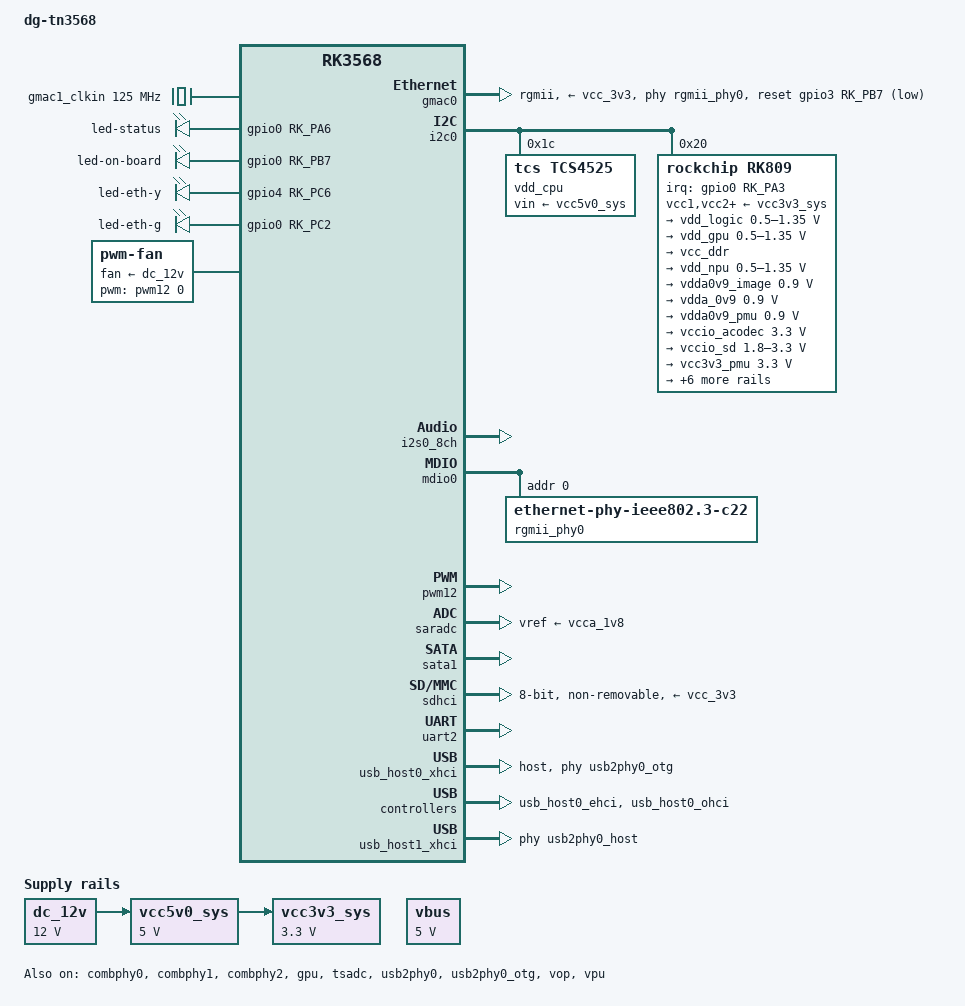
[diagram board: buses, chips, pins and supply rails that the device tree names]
// SPDX-License-Identifier: (GPL-2.0+ OR MIT)
/*
 * Copyright (c) 2024 hqnicolas <hqnicolas@msn.com>
 */

/dts-v1/;

#include <dt-bindings/gpio/gpio.h>
#include <dt-bindings/input/input.h>
#include <dt-bindings/pinctrl/rockchip.h>
#include <dt-bindings/soc/rockchip,vop2.h>
#include "rk3568.dtsi"

/ {
	model = "dg-tn3568";
	compatible = "dg-tn3568,rk3568", "rockchip,rk3568";
	bootargs = "earlycon=uart8250,mmio32,0xfe660000 console=ttyFIQ0";

	aliases {
		ethernet0 = &gmac1;
		mmc0 = &sdmmc0;
		mmc1 = &sdhci;
		mmc2 = &sdmmc1;
	};

	chosen: chosen {
		stdout-path = "serial2:1500000n8";
	};

	gmac1_clkin: external-gmac1-clock {
		compatible = "fixed-clock";
		clock-frequency = <125000000>;
		clock-output-names = "gmac1_clkin";
		#clock-cells = <0>;
	};

	dc_12v: dc-12v {
		compatible = "regulator-fixed";
		regulator-name = "dc_12v";
		regulator-always-on;
		regulator-boot-on;
		regulator-min-microvolt = <12000000>;
		regulator-max-microvolt = <12000000>;
	};

	vcc5v0_sys: vcc5v0_sys {
		compatible = "regulator-fixed";
		regulator-name = "vcc5v0_sys";
		regulator-always-on;
		regulator-boot-on;
		regulator-min-microvolt = <5000000>;
		regulator-max-microvolt = <5000000>;
		vin-supply = <&dc_12v>;
	};

	vcc3v3_sys: vcc3v3-sys {
		compatible = "regulator-fixed";
		regulator-name = "vcc3v3_sys";
		regulator-always-on;
		regulator-boot-on;
		regulator-min-microvolt = <3300000>;
		regulator-max-microvolt = <3300000>;
		vin-supply = <&vcc5v0_sys>;
	};

	leds {
		compatible = "gpio-leds";

		led_status: led-status {
			label = "led-status";
			gpios = <&gpio0 RK_PA6 GPIO_ACTIVE_HIGH>;
			linux,default-trigger = "heartbeat";
			pinctrl-names = "default";
			pinctrl-0 = <&led_sys_h>;
		};

		led_on_board: led-on-board {
			label = "led-on-board";
			gpios = <&gpio0 RK_PB7 GPIO_ACTIVE_HIGH>;
			//linux,default-trigger = "heartbeat";
			pinctrl-names = "default";
			pinctrl-0 = <&led_on_board_h>;
		};

		led_eth_y: led-eth-y {
			label = "led-eth-y";
			gpios = <&gpio4 RK_PC6 GPIO_ACTIVE_HIGH>;
			//linux,default-trigger = "default-on";
			pinctrl-names = "default";
			pinctrl-0 = <&led_eth_y_h>;
		};

		led_eth_g: led-eth-g {
			label = "led-eth-g";
			gpios = <&gpio0 RK_PC2 GPIO_ACTIVE_HIGH>;
			//linux,default-trigger = "default-on";
			pinctrl-names = "default";
			pinctrl-0 = <&led_eth_g_h>;
		};
	};

	vbus: vbus-regulator {
		compatible = "regulator-fixed";
		regulator-name = "vbus";
		regulator-always-on;
		regulator-boot-on;
		regulator-min-microvolt = <5000000>;
		regulator-max-microvolt = <5000000>;
	};

	rk809_sound: rk809-sound {
		status = "okay";
		compatible = "simple-audio-card";
		simple-audio-card,format = "i2s";
		simple-audio-card,name = "rockchip,rk809-codec";
		simple-audio-card,mclk-fs = <256>;

		simple-audio-card,cpu {
			sound-dai = <&i2s1_8ch>;
		};
		simple-audio-card,codec {
			sound-dai = <&rk809_codec>;
		};
	};

	fan: pwm-fan {
		compatible = "pwm-fan";
		pwms = <&pwm12 0 40000 0>;
		fan-supply = <&dc_12v>;
		//interrupt-parent = <&gpio0>;
		//interrupts = <20 IRQ_TYPE_EDGE_FALLING>;
		pulses-per-revolution = <2>;
        cooling-levels = <0 50 100 150 200 255>;
        rockchip,temp-trips = <
                40000   1
                50000   2
                55000   3
                60000   4
                70000   5
        >;
	};
};

&combphy0 {
	rockchip,dis-u3otg0-port;
	status = "okay";
};

&combphy1 {
	rockchip,dis-u3otg1-port;
	status = "okay";
};

&combphy2 {
	status = "okay";
};

&cpu0 {
	cpu-supply = <&vdd_cpu>;
};

&cpu1 {
	cpu-supply = <&vdd_cpu>;
};

&cpu2 {
	cpu-supply = <&vdd_cpu>;
};

&cpu3 {
	cpu-supply = <&vdd_cpu>;
};

&gmac0 {
	phy-mode = "rgmii";
	clock_in_out = "input";

	snps,reset-gpio = <&gpio3 RK_PB7 GPIO_ACTIVE_LOW>;
	snps,reset-active-low;
	/* Reset time is 20ms, 100ms for rtl8211f */
	snps,reset-delays-us = <0 20000 100000>;

	assigned-clocks = <&cru SCLK_GMAC0_RX_TX>, <&cru SCLK_GMAC0>;
	assigned-clock-parents = <&cru SCLK_GMAC0_RGMII_SPEED>, <&cru CLK_MAC0_2TOP>;
	assigned-clock-rates = <0>, <125000000>;

	pinctrl-names = "default";
	pinctrl-0 = <&gmac0_miim
		     &gmac0_tx_bus2
		     &gmac0_rx_bus2
		     &gmac0_rgmii_clk
		     &gmac0_rgmii_bus>;

	tx_delay = <0x2a>;
	rx_delay = <0x2a>;

	phy-handle = <&rgmii_phy0>;
	phy-supply = <&vcc_3v3>;
	status = "okay";
};

&gpu {
	mali-supply = <&vdd_gpu>;
	status = "okay";
};

&i2c0 {
	status = "okay";

	vdd_cpu: regulator@1c {
		compatible = "tcs,tcs4525";
		reg = <0x1c>;
		fcs,suspend-voltage-selector = <1>;
		regulator-name = "vdd_cpu";
		regulator-min-microvolt = <800000>;
		regulator-max-microvolt = <1150000>;
		regulator-ramp-delay = <2300>;
		regulator-always-on;
		regulator-boot-on;
		vin-supply = <&vcc5v0_sys>;

		regulator-state-mem {
			regulator-off-in-suspend;
		};
	};

	rk809: pmic@20 {
		compatible = "rockchip,rk809";
		reg = <0x20>;
		interrupt-parent = <&gpio0>;
		interrupts = <RK_PA3 IRQ_TYPE_LEVEL_LOW>;
		#clock-cells = <1>;
		#sound-dai-cells = <0>;
		clock-output-names = "rk808-clkout1", "rk808-clkout2";
		pinctrl-names = "default";
		pinctrl-0 = <&pmic_int_l>;
		rockchip,system-power-controller;
		wakeup-source;

		vcc1-supply = <&vcc3v3_sys>;
		vcc2-supply = <&vcc3v3_sys>;
		vcc3-supply = <&vcc3v3_sys>;
		vcc4-supply = <&vcc3v3_sys>;
		vcc5-supply = <&vcc3v3_sys>;
		vcc6-supply = <&vcc3v3_sys>;
		vcc7-supply = <&vcc3v3_sys>;
		vcc8-supply = <&vcc3v3_sys>;
		vcc9-supply = <&vcc3v3_sys>;

		regulators {
			vdd_logic: DCDC_REG1 {
				regulator-name = "vdd_logic";
				regulator-always-on;
				regulator-boot-on;
				regulator-min-microvolt = <500000>;
				regulator-max-microvolt = <1350000>;
				regulator-init-microvolt = <900000>;
				regulator-ramp-delay = <6001>;
				regulator-initial-mode = <0x2>;
				regulator-state-mem {
					regulator-off-in-suspend;
				};
			};

			vdd_gpu: DCDC_REG2 {
				regulator-name = "vdd_gpu";
				regulator-always-on;
				regulator-boot-on;
				regulator-min-microvolt = <500000>;
				regulator-max-microvolt = <1350000>;
				regulator-init-microvolt = <900000>;
				regulator-ramp-delay = <6001>;
				regulator-initial-mode = <0x2>;
					regulator-state-mem {
					regulator-off-in-suspend;
				};
			};

			vcc_ddr: DCDC_REG3 {
				regulator-always-on;
				regulator-boot-on;
				regulator-initial-mode = <0x2>;
				regulator-name = "vcc_ddr";
				regulator-state-mem {
					regulator-on-in-suspend;
				};
			};

			vdd_npu: DCDC_REG4 {
				regulator-always-on;
				regulator-boot-on;
				regulator-min-microvolt = <500000>;
				regulator-max-microvolt = <1350000>;
				regulator-init-microvolt = <900000>;
				regulator-initial-mode = <0x2>;
				regulator-name = "vdd_npu";
				regulator-state-mem {
					regulator-off-in-suspend;
				};
			};

			vdda0v9_image: LDO_REG1 {
				regulator-always-on;
				regulator-boot-on;
				regulator-min-microvolt = <900000>;
				regulator-max-microvolt = <900000>;
				regulator-name = "vdda0v9_image";
				regulator-state-mem {
					regulator-off-in-suspend;
				};
			};

			vdda_0v9: LDO_REG2 {
				regulator-always-on;
				regulator-boot-on;
				regulator-min-microvolt = <900000>;
				regulator-max-microvolt = <900000>;
				regulator-name = "vdda_0v9";
				regulator-state-mem {
					regulator-off-in-suspend;
				};
			};

			vdda0v9_pmu: LDO_REG3 {
				regulator-always-on;
				regulator-boot-on;
				regulator-min-microvolt = <900000>;
				regulator-max-microvolt = <900000>;
				regulator-name = "vdda0v9_pmu";
				regulator-state-mem {
					regulator-on-in-suspend;
					regulator-suspend-microvolt = <900000>;
				};
			};

			vccio_acodec: LDO_REG4 {
				regulator-always-on;
				regulator-boot-on;
				regulator-min-microvolt = <3300000>;
				regulator-max-microvolt = <3300000>;
				regulator-name = "vccio_acodec";
				regulator-state-mem {
					regulator-off-in-suspend;
				};
			};

			vccio_sd: LDO_REG5 {
				regulator-name = "vccio_sd";
				regulator-always-on;
				regulator-boot-on;
				regulator-min-microvolt = <1800000>;
				regulator-max-microvolt = <3300000>;

				regulator-state-mem {
					regulator-off-in-suspend;
				};
			};

			vcc3v3_pmu: LDO_REG6 {
				regulator-name = "vcc3v3_pmu";
				regulator-always-on;
				regulator-boot-on;
				regulator-min-microvolt = <3300000>;
				regulator-max-microvolt = <3300000>;

				regulator-state-mem {
					regulator-on-in-suspend;
					regulator-suspend-microvolt = <3300000>;
				};
			};

			vcca_1v8: LDO_REG7 {
				regulator-name = "vcca_1v8";
				regulator-always-on;
				regulator-boot-on;
				regulator-min-microvolt = <1800000>;
				regulator-max-microvolt = <1800000>;

				regulator-state-mem {
					regulator-off-in-suspend;
				};
			};

			vcca1v8_pmu: LDO_REG8 {
				regulator-name = "vcca1v8_pmu";
				regulator-always-on;
				regulator-boot-on;
				regulator-min-microvolt = <1800000>;
				regulator-max-microvolt = <1800000>;

				regulator-state-mem {
					regulator-on-in-suspend;
					regulator-suspend-microvolt = <1800000>;
				};
			};

			vcca1v8_image: LDO_REG9 {
				regulator-name = "vcca1v8_image";
				regulator-min-microvolt = <1800000>;
				regulator-max-microvolt = <1800000>;

				regulator-state-mem {
					regulator-off-in-suspend;
				};
			};

			vcc_1v8: DCDC_REG5 {
				regulator-always-on;
				regulator-boot-on;
				regulator-min-microvolt = <1800000>;
				regulator-max-microvolt = <1800000>;
				regulator-name = "vcc_1v8";
				regulator-state-mem {
					regulator-off-in-suspend;
				};
			};

			vcc_3v3: SWITCH_REG1 {
				regulator-name = "vcc_3v3";
				regulator-always-on;
				regulator-boot-on;

				regulator-state-mem {
					regulator-off-in-suspend;
				};
			};

			vcc3v3_sd: SWITCH_REG2 {
				regulator-name = "vcc3v3_sd";
				regulator-always-on;
				regulator-boot-on;

				regulator-state-mem {
					regulator-off-in-suspend;
				};
			};
		};

		rk809_codec: codec {
			mic-in-differential;
			#sound-dai-cells = <0>;
		};
	};
};

&i2s0_8ch {
	status = "okay";
};

&i2s1_8ch {
	pinctrl-names = "default";
	pinctrl-0 = <&i2s1m0_sclktx
				 &i2s1m0_lrcktx
				 &i2s1m0_sdi0
				 &i2s1m0_sdo0>;
	rockchip,trcm-sync-tx-only;
};

&mdio0 {
	rgmii_phy0: ethernet-phy@0 {
		compatible = "ethernet-phy-ieee802.3-c22";
		reg = <0>;
		status = "okay";
	};
};

&pinctrl {

	pmic {
		pmic_int_l: pmic-int-l {
			rockchip,pins = <0 RK_PA3 RK_FUNC_GPIO &pcfg_pull_up>;
		};
	};

	leds {
		led_eth_y_h: led_eth_y_h {
			rockchip,pins = <4 RK_PC6 RK_FUNC_GPIO &pcfg_pull_none>;
		};

		led_eth_g_h: led_eth_g_h {
			rockchip,pins = <0 RK_PC2 RK_FUNC_GPIO &pcfg_pull_none>;
		};

		led_sys_h: led_sys_h {
			rockchip,pins = <0 RK_PA6 RK_FUNC_GPIO &pcfg_pull_none>;
		};

		led_on_board_h: led_on_board_h {
			rockchip,pins = <0 RK_PB7 RK_FUNC_GPIO &pcfg_pull_none>;
		};
	};

};

&pmu_io_domains {
	pmuio1-supply = <&vcc3v3_pmu>;
	pmuio2-supply = <&vcc3v3_pmu>;
	vccio1-supply = <&vccio_acodec>;
	vccio2-supply = <&vcc_1v8>;
	vccio3-supply = <&vccio_sd>;
	vccio4-supply = <&vcc_1v8>;
	vccio5-supply = <&vcc_3v3>;
	vccio6-supply = <&vcc_1v8>;
	vccio7-supply = <&vcc_3v3>;
	status = "okay";
};

&pwm12 {
	pinctrl-0 = <&pwm12m1_pins>;
	pinctrl-names = "default";
	status = "okay";
};

&saradc {
	vref-supply = <&vcca_1v8>;
	status = "okay";
};

&sata1 {
	status = "okay";
};

&sdhci {
	bus-width = <8>;
	mmc-hs200-1_8v;
	non-removable;
	vmmc-supply = <&vcc_3v3>;
	vqmmc-supply = <&vcc_1v8>;
	status = "okay";
};

&tsadc {
	status = "okay";
};

&uart2 {
	status = "okay";
};

&usb_host0_xhci {
	phys = <&usb2phy0_otg>;
	phy-names = "usb2-phy";
	extcon = <&usb2phy0>;
	maximum-speed = "high-speed";
    snps,dis_u2_susphy_quirk;
	dr_mode = "host";
	status = "okay";
};

&usb_host0_ehci {
	status = "okay";
};

&usb_host0_ohci {
	status = "okay";
};

&usb2phy0 {
	status = "okay";
};

&usb2phy0_otg {
	status = "okay";
};

&usb_host1_xhci {
	phys = <&usb2phy0_host>;
	phy-names = "usb2-phy";
	maximum-speed = "high-speed";
    snps,dis_u2_susphy_quirk;
};

&vop {
	assigned-clocks = <&cru DCLK_VOP0>, <&cru DCLK_VOP1>;
	assigned-clock-parents = <&pmucru PLL_HPLL>, <&cru PLL_VPLL>;
	status = "okay";
};

&vpu {
	status = "okay";
};

&vop_mmu {
	status = "okay";
};
